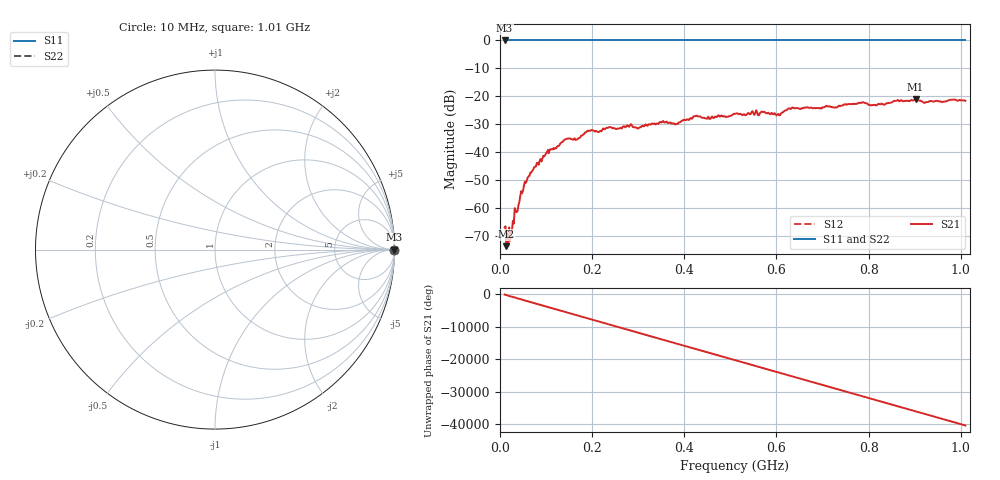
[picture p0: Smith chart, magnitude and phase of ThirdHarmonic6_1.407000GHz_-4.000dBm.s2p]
! 8/16/2025 4:06:34 PM
! C:\ANRITSUVNA\TEMP\TEMP.S2P
! CHANNEL.1
! TR.MEASUREMENT
! RAW.DATA
! RF.CORRECTION.OFF
! AVERAGING.OFF
! IF.BANDWIDTH: 5KHZ
! SWEEPTYPE:  FREQ.SWEEP(Linear)
! Reference Plane Port Info
! PORT:  PORT1  PORT2
! DISTANCE:  0  m  0  m
! TIME:  0  s  0  s
! PHASE.OFFSET:  0  deg.  0  deg.
! LOSS:  0  dB  0  dB
! REF.LOSS:  0  dB  0  dB
! REF.FREQ:  0  Hz  0  Hz
! Power Info
! POWER:  -20  dBm  -20  dBm
! EFF.POWER:  -20  dBm  -20  dBm
! SOURCE.ATTEN:  0  dB  0  dB
! TEST.ATTEN:  0  dB  0  dB
# GHZ S RI R 50.0
! FREQ.GHZ  S11RE  S11IM  S21RE  S21IM  S12RE  S12IM  S22RE  S22IM
!; PortSelection: Port_12
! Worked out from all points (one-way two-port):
!   501 points, 10 MHz to 1.01 GHz, reference 50 ohm
!   highest |S21| = -21.12 dB at 902 MHz (marker M1); lowest = -73.7 dB at 14 MHz (marker M2)
!   lowest |S11| = 0.0 dB at 10 MHz (marker M3)
!   |S11| at or under -10 dB: nowhere
!   |S22| runs from 0.0 to 0.0 dB; largest |S21 - S12| = 1.1
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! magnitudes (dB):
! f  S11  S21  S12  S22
! 10 MHz  0.0  -67.0  0.0  0.0
! 14 MHz  0.0  -73.7  0.0  0.0
! 18 MHz  0.0  -73.6  0.0  0.0
! 22 MHz  0.0  -71.7  0.0  0.0
! 32 MHz  0.0  -60.1  0.0  0.0
! 50 MHz  0.0  -53.8  0.0  0.0
! 78 MHz  0.0  -45.2  0.0  0.0
! 106 MHz  0.0  -40.4  0.0  0.0
! 142 MHz  0.0  -35.5  0.0  0.0
! 178 MHz  0.0  -34.1  0.0  0.0
! 234 MHz  0.0  -31.3  0.0  0.0
! 344 MHz  0.0  -29.9  0.0  0.0
! 382 MHz  0.0  -30.0  0.0  0.0
! 424 MHz  0.0  -27.1  0.0  0.0
! 452 MHz  0.0  -27.3  0.0  0.0
! 510 MHz  0.0  -26.3  0.0  0.0
! 604 MHz  0.0  -26.3  0.0  0.0
! 630 MHz  0.0  -24.5  0.0  0.0
! 678 MHz  0.0  -24.3  0.0  0.0
! 844 MHz  0.0  -22.4  0.0  0.0
! 902 MHz  0.0  -21.1  0.0  0.0
! 1.01 GHz  0.0  -21.6  0.0  0.0
